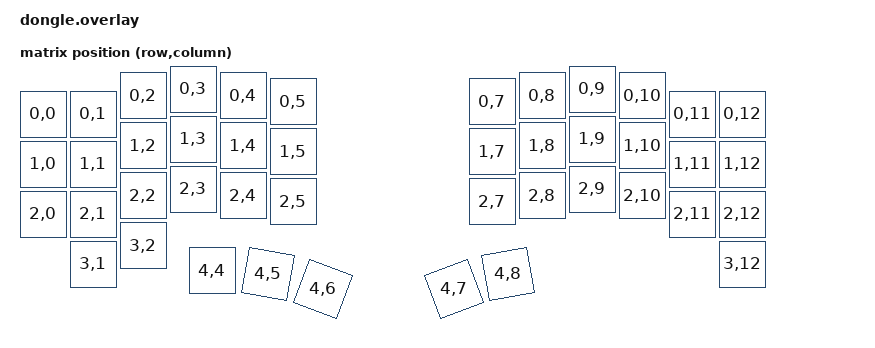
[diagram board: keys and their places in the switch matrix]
/* --- 1. インクルードセクション --- */
#include <dt-bindings/zmk/matrix_transform.h>
#include <dt-bindings/zmk/input_transform.h>
#include <physical_layouts.dtsi>
#include <input/processors.dtsi>
#include "xio.dtsi"
#include <mouse-gesture.dtsi>
#include <behaviors/input_processor_absolute_to_relative.dtsi>
#include <behaviors/input_processor_gestures.dtsi>
#include <zephyr/dt-bindings/input/input-event-codes.h>

/* --- 2. 既存ラベルの拡張（レイヤーごとの挙動定義） --- */

&zip_temp_layer {
    require-prior-idle-ms = <200>;
};

&zip_gestures {
    tap-detection;
    tap-timout-ms = <150>;
    prevent_movement_during_tap;
};

/* I2Cセンサーのピン変更等は xio.dtsi で定義済みのため、ここでは有効化とノード追加のみ */
&i2c0 {
    status = "okay";
    glidepoint: touch_sensor: cst816s@15 {
        compatible = "hynitron,cst816s";
        reg = <0x15>;
        status = "okay";
        irq-gpios = <&gpio0 2 GPIO_ACTIVE_LOW>;
        rst-gpios = <&gpio0 3 GPIO_ACTIVE_LOW>;
    };
};

/* --- 【ここが漏れていました】トラックボールのレイヤー別定義 --- */
&trackball_listener {
    status = "okay";
    /* 通常時はレイヤー6（一時レイヤー）を想定 */
    input-processors = <&zip_temp_layer 6 400>;

    /* レイヤー5: 垂直・水平スクロールモード */
    scroller1 {
        layers = <5>;
        input-processors = <&zip_x_scaler 0 1>, 
                           <&zip_xy_transform (INPUT_TRANSFORM_Y_INVERT)>, 
                           <&zip_xy_to_scroll_mapper>, 
                           <&zip_scroll_scaler 1 6>;
    };

    /* レイヤー4: 垂直スクロールのみ */
    scroller2 {
        layers = <4>;
        input-processors = <&zip_y_scaler 0 1>, 
                           <&zip_xy_to_scroll_mapper>;
    };

    /* レイヤー2: 高速移動モード */
    set_mouse_fast {
        layers = <2>;
        input-processors = <&zip_xy_scaler 3 1>;
    };

    /* レイヤー3: 精密操作（低速）モード */
    set_mouse_slow {
        layers = <3>;
        input-processors = <&zip_xy_scaler 1 5>;
    };

    /* レイヤー8: ジェスチャー専用（カーソル不動） */
    gesture_only_mode {
        layers = <8>;
        input-processors = <&zip_mouse_gesture>, <&zip_xy_scaler 0 1>;
    };
};

/* --- 3. ルートノード (/) --- */
/ {
    /* システム全体の司令塔 */
    chosen {
        zmk,physical-layout = &physical_layout0;
        zmk,kscan = &mock_kscan;
        zephyr,display = &st7789;
        zmk,backlight = &pwm_leds;
    };

    /* キースキャンのモック */
    mock_kscan: mock_kscan_0 {
        compatible = "zmk,kscan-mock";
        status = "okay";
        columns = <0>;
        rows = <0>;
        events = <0>;
    };

    /* マトリックス変換定義 */
    default_transform: keymap_transform_0 {
        compatible = "zmk,matrix-transform";
        columns = <13>;
        rows = <5>;
        map = <
            RC(0,0) RC(0,1) RC(0,2) RC(0,3) RC(0,4) RC(0,5) RC(0,7) RC(0,8) RC(0,9) RC(0,10) RC(0,11) RC(0,12)
            RC(1,0) RC(1,1) RC(1,2) RC(1,3) RC(1,4) RC(1,5) RC(1,7) RC(1,8) RC(1,9) RC(1,10) RC(1,11) RC(1,12)
            RC(2,0) RC(2,1) RC(2,2) RC(2,3) RC(2,4) RC(2,5) RC(2,7) RC(2,8) RC(2,9) RC(2,10) RC(2,11) RC(2,12)
            RC(3,1) RC(3,2) RC(3,12)
            RC(4,4) RC(4,5) RC(4,6) RC(4,7) RC(4,8)
        >;
    };

    /* 物理レイアウト定義 (44キー全座標) */
    physical_layout0: physical_layout0 {
        compatible = "zmk,physical-layout";
        display-name = "Layout";
        transform = <&default_transform>;

        keys
            = <&key_physical_attrs 100 100 150 50 0 0 0>
            ,<&key_physical_attrs 100 100 250 50 0 0 0>
            ,<&key_physical_attrs 100 100 350 13 0 0 0>
            ,<&key_physical_attrs 100 100 450 0 0 0 0>
            ,<&key_physical_attrs 100 100 550 13 0 0 0>
            ,<&key_physical_attrs 100 100 650 25 0 0 0>
            ,<&key_physical_attrs 100 100 1048 25 0 0 0>
            ,<&key_physical_attrs 100 100 1148 13 0 0 0>
            ,<&key_physical_attrs 100 100 1248 0 0 0 0>
            ,<&key_physical_attrs 100 100 1348 13 0 0 0>
            ,<&key_physical_attrs 100 100 1448 50 0 0 0>
            ,<&key_physical_attrs 100 100 1548 50 0 0 0>
            ,<&key_physical_attrs 100 100 150 150 0 0 0>
            ,<&key_physical_attrs 100 100 250 150 0 0 0>
            ,<&key_physical_attrs 100 100 350 113 0 0 0>
            ,<&key_physical_attrs 100 100 450 100 0 0 0>
            ,<&key_physical_attrs 100 100 550 113 0 0 0>
            ,<&key_physical_attrs 100 100 650 125 0 0 0>
            ,<&key_physical_attrs 100 100 1048 125 0 0 0>
            ,<&key_physical_attrs 100 100 1148 113 0 0 0>
            ,<&key_physical_attrs 100 100 1248 100 0 0 0>
            ,<&key_physical_attrs 100 100 1348 113 0 0 0>
            ,<&key_physical_attrs 100 100 1448 150 0 0 0>
            ,<&key_physical_attrs 100 100 1548 150 0 0 0>
            ,<&key_physical_attrs 100 100 150 250 0 0 0>
            ,<&key_physical_attrs 100 100 250 250 0 0 0>
            ,<&key_physical_attrs 100 100 350 213 0 0 0>
            ,<&key_physical_attrs 100 100 450 200 0 0 0>
            ,<&key_physical_attrs 100 100 550 213 0 0 0>
            ,<&key_physical_attrs 100 100 650 225 0 0 0>
            ,<&key_physical_attrs 100 100 1048 225 0 0 0>
            ,<&key_physical_attrs 100 100 1148 213 0 0 0>
            ,<&key_physical_attrs 100 100 1248 200 0 0 0>
            ,<&key_physical_attrs 100 100 1348 213 0 0 0>
            ,<&key_physical_attrs 100 100 1448 250 0 0 0>
            ,<&key_physical_attrs 100 100 1548 250 0 0 0>
            ,<&key_physical_attrs 100 100 250 350 0 0 0>
            ,<&key_physical_attrs 100 100 350 313 0 0 0>
            ,<&key_physical_attrs 100 100 1548 350 0 0 0>
            ,<&key_physical_attrs 100 100 488 363 0 0 0>
            ,<&key_physical_attrs 100 100 609 362 1000 609 362>
            ,<&key_physical_attrs 100 100 730 386 2000 730 386>
            ,<&key_physical_attrs 100 100 958 420 (-2000) 958 420>
            ,<&key_physical_attrs 100 100 1072 379 (-1000) 1072 379>
            ;
    };

    /* タッチ入力リスナー */
    touch_listener: touch_listener {
        status = "okay";
        compatible = "zmk,input-listener";
        device = <&touch_sensor>;

        input-processors = 
            <&zip_gestures>,
            <&zip_absolute_to_relative>,
            <&zip_xy_transform (INPUT_TRANSFORM_XY_SWAP)>,
            <&zip_xy_to_scroll_mapper>,
            <&zip_scroll_scaler 1 20>;
    };
};
